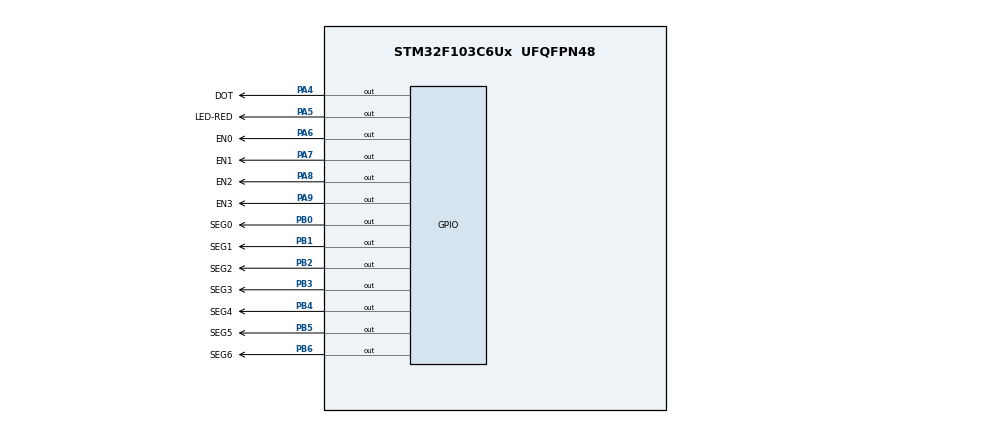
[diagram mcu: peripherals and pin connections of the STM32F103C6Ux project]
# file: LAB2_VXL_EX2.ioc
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Mcu.Family=STM32F1
Mcu.Name=STM32F103C6Ux
Mcu.Package=UFQFPN48
NVIC.PriorityGroup=NVIC_PRIORITYGROUP_4
NVIC.TIM2_IRQn=true\:0\:0\:false\:false\:true\:true\:true
PA4.GPIO_Label=DOT
PA4.Signal=GPIO_Output
PA5.GPIO_Label=LED-RED
PA5.Signal=GPIO_Output
PA6.GPIO_Label=EN0
PA6.Signal=GPIO_Output
PA7.GPIO_Label=EN1
PA7.Signal=GPIO_Output
PA8.GPIO_Label=EN2
PA8.Signal=GPIO_Output
PA9.GPIO_Label=EN3
PA9.Signal=GPIO_Output
PB0.GPIO_Label=SEG0
PB0.Signal=GPIO_Output
PB1.GPIO_Label=SEG1
PB1.Signal=GPIO_Output
PB2.GPIO_Label=SEG2
PB2.Signal=GPIO_Output
PB3.GPIO_Label=SEG3
PB3.Signal=GPIO_Output
PB4.GPIO_Label=SEG4
PB4.Signal=GPIO_Output
PB5.GPIO_Label=SEG5
PB5.Signal=GPIO_Output
PB6.GPIO_Label=SEG6
PB6.Signal=GPIO_Output
ProjectManager.HeapSize=0x200
ProjectManager.StackSize=0x400
ProjectManager.TargetToolchain=STM32CubeIDE
RCC.APB1Freq_Value=8000000
RCC.APB2Freq_Value=8000000
TIM2.Period=9
TIM2.Prescaler=7999
VP_SYS_VS_ND.Mode=No_Debug
VP_TIM2_VS_ClockSourceINT.Mode=Internal
board=custom

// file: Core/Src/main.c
/* USER CODE BEGIN Header */
/**
  ******************************************************************************
  * @file           : main.c
  * @brief          : Main program body
  ******************************************************************************
  * @attention
  *
  * <h2><center>&copy; Copyright (c) 2025 STMicroelectronics.
  * All rights reserved.</center></h2>
  *
  * This software component is licensed by ST under BSD 3-Clause license,
  * the "License"; You may not use this file except in compliance with the
  * License. You may obtain a copy of the License at:
  *                        opensource.org/licenses/BSD-3-Clause
  *
  ******************************************************************************
  */
/* USER CODE END Header */
#include "main.h"

TIM_HandleTypeDef htim2;

void SystemClock_Config(void);
static void MX_GPIO_Init(void);
static void MX_TIM2_Init(void);

void display7SEG(int num){
	char led7segm[10]={0xC0, 0xF9, 0xA4, 0xB0, 0x99, 0x92, 0x82, 0xF8, 0x80, 0x90};
	for(int i=0;i<7;i++){
		HAL_GPIO_WritePin(GPIOB, SEG0_Pin<<i,(led7segm[num]>>i)&1);
	}
}
int main(void)
{

  /* MCU Configuration--------------------------------------------------------*/

  /* Reset of all peripherals, Initializes the Flash interface and the Systick. */
  HAL_Init();

  /* Configure the system clock */
  SystemClock_Config();

  /* Initialize all configured peripherals */
  MX_GPIO_Init();
  MX_TIM2_Init();
  /* USER CODE BEGIN 2 */
  HAL_TIM_Base_Start_IT (& htim2 ) ;
  /* USER CODE END 2 */

  /* Infinite loop */
  while (1)
  {

  }
}

void SystemClock_Config(void)
{
  RCC_OscInitTypeDef RCC_OscInitStruct = {0};
  RCC_ClkInitTypeDef RCC_ClkInitStruct = {0};

  /** Initializes the RCC Oscillators according to the specified parameters
  * in the RCC_OscInitTypeDef structure.
  */
  RCC_OscInitStruct.OscillatorType = RCC_OSCILLATORTYPE_HSI;
  RCC_OscInitStruct.HSIState = RCC_HSI_ON;
  RCC_OscInitStruct.HSICalibrationValue = RCC_HSICALIBRATION_DEFAULT;
  RCC_OscInitStruct.PLL.PLLState = RCC_PLL_NONE;
  if (HAL_RCC_OscConfig(&RCC_OscInitStruct) != HAL_OK)
  {
    Error_Handler();
  }
  /** Initializes the CPU, AHB and APB buses clocks
  */
  RCC_ClkInitStruct.ClockType = RCC_CLOCKTYPE_HCLK|RCC_CLOCKTYPE_SYSCLK
                              |RCC_CLOCKTYPE_PCLK1|RCC_CLOCKTYPE_PCLK2;
  RCC_ClkInitStruct.SYSCLKSource = RCC_SYSCLKSOURCE_HSI;
  RCC_ClkInitStruct.AHBCLKDivider = RCC_SYSCLK_DIV1;
  RCC_ClkInitStruct.APB1CLKDivider = RCC_HCLK_DIV1;
  RCC_ClkInitStruct.APB2CLKDivider = RCC_HCLK_DIV1;

  if (HAL_RCC_ClockConfig(&RCC_ClkInitStruct, FLASH_LATENCY_0) != HAL_OK)
  {
    Error_Handler();
  }
}

static void MX_TIM2_Init(void)
{

  TIM_ClockConfigTypeDef sClockSourceConfig = {0};
  TIM_MasterConfigTypeDef sMasterConfig = {0};

  htim2.Instance = TIM2;
  htim2.Init.Prescaler = 7999;
  htim2.Init.CounterMode = TIM_COUNTERMODE_UP;
  htim2.Init.Period = 9;
  htim2.Init.ClockDivision = TIM_CLOCKDIVISION_DIV1;
  htim2.Init.AutoReloadPreload = TIM_AUTORELOAD_PRELOAD_DISABLE;
  if (HAL_TIM_Base_Init(&htim2) != HAL_OK)
  {
    Error_Handler();
  }
  sClockSourceConfig.ClockSource = TIM_CLOCKSOURCE_INTERNAL;
  if (HAL_TIM_ConfigClockSource(&htim2, &sClockSourceConfig) != HAL_OK)
  {
    Error_Handler();
  }
  sMasterConfig.MasterOutputTrigger = TIM_TRGO_RESET;
  sMasterConfig.MasterSlaveMode = TIM_MASTERSLAVEMODE_DISABLE;
  if (HAL_TIMEx_MasterConfigSynchronization(&htim2, &sMasterConfig) != HAL_OK)
  {
    Error_Handler();
  }

}

static void MX_GPIO_Init(void)
{
  GPIO_InitTypeDef GPIO_InitStruct = {0};

  /* GPIO Ports Clock Enable */
  __HAL_RCC_GPIOA_CLK_ENABLE();
  __HAL_RCC_GPIOB_CLK_ENABLE();

  /*Configure GPIO pin Output Level */
  HAL_GPIO_WritePin(GPIOA, DOT_Pin|LED_RED_Pin|EN0_Pin|EN1_Pin
                          |EN2_Pin|EN3_Pin, GPIO_PIN_SET);

  /*Configure GPIO pin Output Level */
  HAL_GPIO_WritePin(GPIOB, SEG0_Pin|SEG1_Pin|SEG2_Pin|SEG3_Pin
                          |SEG4_Pin|SEG5_Pin|SEG6_Pin, GPIO_PIN_SET);

  /*Configure GPIO pins : DOT_Pin LED_RED_Pin EN0_Pin EN1_Pin
                           EN2_Pin EN3_Pin */
  GPIO_InitStruct.Pin = DOT_Pin|LED_RED_Pin|EN0_Pin|EN1_Pin
                          |EN2_Pin|EN3_Pin;
  GPIO_InitStruct.Mode = GPIO_MODE_OUTPUT_PP;
  GPIO_InitStruct.Pull = GPIO_NOPULL;
  GPIO_InitStruct.Speed = GPIO_SPEED_FREQ_LOW;
  HAL_GPIO_Init(GPIOA, &GPIO_InitStruct);

  /*Configure GPIO pins : SEG0_Pin SEG1_Pin SEG2_Pin SEG3_Pin
                           SEG4_Pin SEG5_Pin SEG6_Pin */
  GPIO_InitStruct.Pin = SEG0_Pin|SEG1_Pin|SEG2_Pin|SEG3_Pin
                          |SEG4_Pin|SEG5_Pin|SEG6_Pin;
  GPIO_InitStruct.Mode = GPIO_MODE_OUTPUT_PP;
  GPIO_InitStruct.Pull = GPIO_NOPULL;
  GPIO_InitStruct.Speed = GPIO_SPEED_FREQ_LOW;
  HAL_GPIO_Init(GPIOB, &GPIO_InitStruct);

}

/* USER CODE BEGIN 4 */

/* USER CODE BEGIN 4 */

int ledBlinkCounter = 0;
int ledState = 0;
int counter=0;
int current_display = 0;

void HAL_TIM_PeriodElapsedCallback(TIM_HandleTypeDef *htim) {
	 counter++;
	    if (counter >= 50)  // 50 * 10ms = 500ms
	    {
	        counter = 0;
	        if (current_display == 0)
	        {
	            HAL_GPIO_WritePin(EN0_GPIO_Port, EN0_Pin, GPIO_PIN_RESET);
	            HAL_GPIO_WritePin(EN1_GPIO_Port, EN1_Pin, GPIO_PIN_SET);
	            HAL_GPIO_WritePin(EN2_GPIO_Port, EN2_Pin, GPIO_PIN_SET);
	            HAL_GPIO_WritePin(EN3_GPIO_Port, EN3_Pin, GPIO_PIN_SET);
	            display7SEG(1);
	            current_display = 1;
	        }
	        else if (current_display == 1)
	        	       {
	        	            HAL_GPIO_WritePin(EN0_GPIO_Port, EN0_Pin, GPIO_PIN_SET);
	        	            HAL_GPIO_WritePin(EN1_GPIO_Port, EN1_Pin, GPIO_PIN_RESET);
	        	            HAL_GPIO_WritePin(EN2_GPIO_Port, EN2_Pin, GPIO_PIN_SET);
	        	            HAL_GPIO_WritePin(EN3_GPIO_Port, EN3_Pin, GPIO_PIN_SET);
	        	            display7SEG(2);
	        	            current_display = 2;
	        	        }
	        else if (current_display == 2)
	        	        {
	        	            HAL_GPIO_WritePin(EN0_GPIO_Port, EN0_Pin, GPIO_PIN_SET);
	        	            HAL_GPIO_WritePin(EN1_GPIO_Port, EN1_Pin, GPIO_PIN_SET);
	        	            HAL_GPIO_WritePin(EN2_GPIO_Port, EN2_Pin, GPIO_PIN_RESET);
	        	            HAL_GPIO_WritePin(EN3_GPIO_Port, EN3_Pin, GPIO_PIN_SET);
	        	            display7SEG(3);
	        	            current_display = 3;
	        	        }
	        else
	        {
	            HAL_GPIO_WritePin(EN0_GPIO_Port, EN0_Pin, GPIO_PIN_SET);
	            HAL_GPIO_WritePin(EN1_GPIO_Port, EN1_Pin, GPIO_PIN_SET);
	            HAL_GPIO_WritePin(EN2_GPIO_Port, EN2_Pin, GPIO_PIN_SET);
	            HAL_GPIO_WritePin(EN3_GPIO_Port, EN3_Pin, GPIO_PIN_RESET);
	            display7SEG(0);
	            current_display = 0;
	        }
	    }
        // Blink DOT LED mỗi 1 giây
	    ledBlinkCounter++;
	    if (ledBlinkCounter >= 100) { // 100 * 10ms = 1s
	        ledBlinkCounter = 0;
	        ledState = !ledState;
	        HAL_GPIO_WritePin(GPIOA, DOT_Pin, ledState);
	    }

}
/* USER CODE END 4 */

void Error_Handler(void)
{
  __disable_irq();
  while (1)
  {
  }
}

/************************ (C) COPYRIGHT STMicroelectronics *****END OF FILE****/
